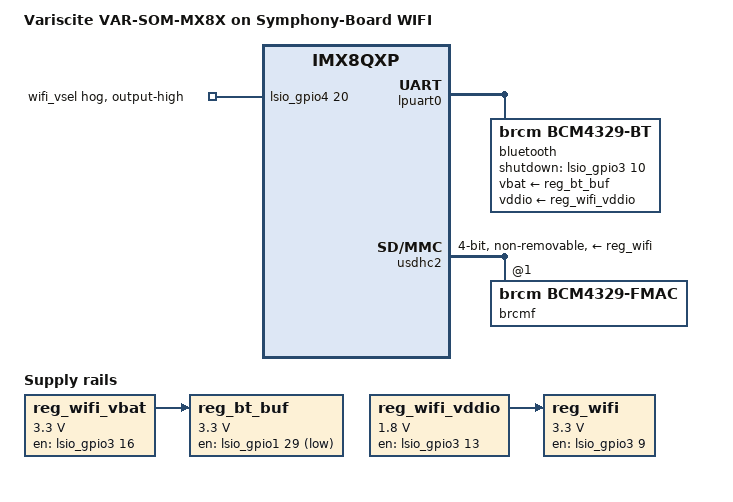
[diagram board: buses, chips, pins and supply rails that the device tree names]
// SPDX-License-Identifier: GPL-2.0+
/*
 * Copyright 2019-2025 Variscite Ltd.
 */

#include "imx8qxp-var-som-symphony.dtsi"

/ {
	model = "Variscite VAR-SOM-MX8X on Symphony-Board WIFI";

	reg_wifi_vbat: regulator-wifi-vbat {
		compatible = "regulator-fixed";
		regulator-name = "WIFI_VBAT";
		regulator-min-microvolt = <3300000>;
		regulator-max-microvolt = <3300000>;
		gpio = <&lsio_gpio3 16 GPIO_ACTIVE_HIGH>;
		enable-active-high;
	};

	reg_wifi_vddio: regulator-wifi-vddio {
		compatible = "regulator-fixed";
		regulator-name = "WIFI_VDDIO";
		regulator-min-microvolt = <1800000>;
		regulator-max-microvolt = <1800000>;
		gpio = <&lsio_gpio3 13 GPIO_ACTIVE_HIGH>;
		enable-active-high;
	};

	reg_wifi: regulator-wifi {
		compatible = "regulator-fixed";
		pinctrl-names = "default";
		pinctrl-0 = <&pinctrl_wifi>;
		regulator-name = "WIFI_PWR";
		regulator-min-microvolt = <3300000>;
		regulator-max-microvolt = <3300000>;
		gpio = <&lsio_gpio3 9 GPIO_ACTIVE_HIGH>;
		enable-active-high;
		vin-supply = <&reg_wifi_vddio>;
	};

	reg_bt_buf: bt-buffer {
		compatible = "regulator-fixed";
		pinctrl-names = "default";
		pinctrl-0 = <&pinctrl_bt_buf>;
		regulator-name = "BT_BUF";
		regulator-min-microvolt = <3300000>;
		regulator-max-microvolt = <3300000>;
		gpio = <&lsio_gpio1 29 GPIO_ACTIVE_LOW>;
		vin-supply = <&reg_wifi_vbat>;
	};
};

&iomuxc {
	pinctrl_usdhc2_vsel: usdhc2vselgrp {
		fsl,pins = <
			IMX8QXP_USDHC1_VSELECT_LSIO_GPIO4_IO20	0x00000021
		>;
	};

	pinctrl_wifi_reg: wifireg {
		fsl,pins = <
			IMX8QXP_QSPI0A_SCLK_LSIO_GPIO3_IO16		0x06000021
			IMX8QXP_QSPI0A_DQS_LSIO_GPIO3_IO13		0x06000021
		>;
	};

	/* Override pinctrl_wifi from SOM dtsi: only 32K clock + WL_REG_ON */
	pinctrl_wifi: wifigrp {
		fsl,pins = <
			IMX8QXP_SCU_BOOT_MODE3_SCU_DSC_RTC_CLOCK_OUTPUT_32K	0x20
			IMX8QXP_QSPI0A_DATA0_LSIO_GPIO3_IO09		0x06000021
		>;
	};
};

/* Bluetooth */
&lpuart0 {
	uart-has-rtscts;
	status = "okay";

	bluetooth {
		compatible = "brcm,bcm4329-bt";
		pinctrl-names = "default";
		pinctrl-0 = <&pinctrl_bt_en>;
		clocks = <&xtal32k>;
		clock-names = "txco";
		max-speed = <3000000>;
		vbat-supply = <&reg_bt_buf>;
		vddio-supply = <&reg_wifi_vddio>;
		shutdown-gpios = <&lsio_gpio3 10 GPIO_ACTIVE_HIGH>;
		brcm,bt-pcm-int-params = [01 00 00 00 00];
	};
};

/* WIFI 1.8V voltage select */
&lsio_gpio4 {
	pinctrl-names = "default";
	pinctrl-0 = <&pinctrl_usdhc2_vsel>;

	wifi_vsel_hog {
		gpio-hog;
		gpios = <20 0>;
		output-high;
		line-name = "wifi_vsel";
	};
};

/* WIFI */
&usdhc2 {
	#address-cells = <1>;
	#size-cells = <0>;
	pinctrl-names = "default", "state_100mhz", "state_200mhz";
	pinctrl-0 = <&pinctrl_usdhc2>, <&pinctrl_wifi_reg>;
	pinctrl-1 = <&pinctrl_usdhc2_100mhz>, <&pinctrl_wifi_reg>;
	pinctrl-2 = <&pinctrl_usdhc2_200mhz>, <&pinctrl_wifi_reg>;
	bus-width = <4>;
	non-removable;
	keep-power-in-suspend;
	status = "okay";

	vmmc-supply = <&reg_wifi>;
	vqmmc-supply = <&reg_wifi_vbat>;

	brcmf: bcrmf@1 {
		reg = <1>;
		compatible = "brcm,bcm4329-fmac";
	};
};

#include "imx8qxp-android.dtsi"
